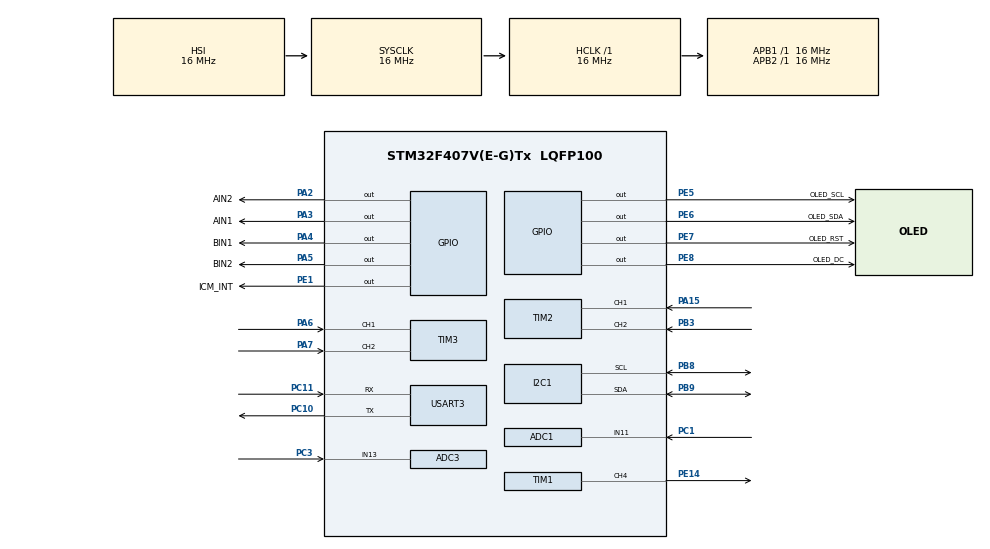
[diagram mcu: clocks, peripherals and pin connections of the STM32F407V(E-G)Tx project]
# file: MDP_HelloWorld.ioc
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ADC1.Channel-0\#ChannelRegularConversion=ADC_CHANNEL_11
ADC1.ContinuousConvMode=DISABLE
ADC1.NbrOfConversion=1
ADC1.NbrOfConversionFlag=1
ADC1.Rank-0\#ChannelRegularConversion=1
ADC1.SamplingTime-0\#ChannelRegularConversion=ADC_SAMPLETIME_3CYCLES
ADC1.master=1
ADC3.Channel-0\#ChannelRegularConversion=ADC_CHANNEL_13
ADC3.NbrOfConversionFlag=1
ADC3.Rank-0\#ChannelRegularConversion=1
ADC3.SamplingTime-0\#ChannelRegularConversion=ADC_SAMPLETIME_3CYCLES
FREERTOS.INCLUDE_xSemaphoreGetMutexHolder=1
FREERTOS.INCLUDE_xTaskAbortDelay=0
FREERTOS.Tasks01=defaultTask,24,256,StartDefaultTask,Default,NULL,Dynamic,NULL,NULL;encoder,8,256,Encoder,Default,NULL,Dynamic,NULL,NULL;display,8,256,Display,Default,NULL,Dynamic,NULL,NULL;gyroscope,24,256,Gyroscope,Default,NULL,Dynamic,NULL,NULL
Mcu.Family=STM32F4
Mcu.Name=STM32F407V(E-G)Tx
Mcu.Package=LQFP100
NVIC.PriorityGroup=NVIC_PRIORITYGROUP_4
NVIC.USART3_IRQn=true\:5\:0\:false\:false\:true\:true\:true\:true
PA15.Signal=S_TIM2_CH1_ETR
PA2.GPIO_Label=AIN2
PA2.GPIO_Speed=GPIO_SPEED_FREQ_HIGH
PA2.Signal=GPIO_Output
PA3.GPIO_Label=AIN1
PA3.GPIO_Speed=GPIO_SPEED_FREQ_HIGH
PA3.Signal=GPIO_Output
PA4.GPIO_Label=BIN1
PA4.GPIO_Speed=GPIO_SPEED_FREQ_HIGH
PA4.Signal=GPIO_Output
PA5.GPIO_Label=BIN2
PA5.GPIO_Speed=GPIO_SPEED_FREQ_HIGH
PA5.Signal=GPIO_Output
PA6.Signal=S_TIM3_CH1
PA7.Signal=S_TIM3_CH2
PB3.Signal=S_TIM2_CH2
PB8.Mode=I2C
PB8.Signal=I2C1_SCL
PB9.Mode=I2C
PB9.Signal=I2C1_SDA
PC1.Signal=ADCx_IN11
PC10.Mode=Asynchronous
PC10.Signal=USART3_TX
PC11.Mode=Asynchronous
PC11.Signal=USART3_RX
PC3.Signal=ADCx_IN13
PC6.GPIO_Label=PWMA
PC6.Signal=S_TIM8_CH1
PC7.GPIO_Label=PWMB
PC7.Signal=S_TIM8_CH2
PE1.GPIO_Label=ICM_INT
PE1.Signal=GPIO_Output
PE14.Signal=S_TIM1_CH4
PE5.GPIO_Label=OLED_SCL
PE5.Signal=GPIO_Output
PE6.GPIO_Label=OLED_SDA
PE6.Signal=GPIO_Output
PE7.GPIO_Label=OLED_RST
PE7.Signal=GPIO_Output
PE8.GPIO_Label=OLED_DC
PE8.Signal=GPIO_Output
ProjectManager.HeapSize=0x200
ProjectManager.StackSize=0x400
ProjectManager.TargetToolchain=STM32CubeIDE
RCC.AHBFreq_Value=16000000
RCC.APB1Freq_Value=16000000
RCC.APB2Freq_Value=16000000
RCC.CortexFreq_Value=16000000
RCC.HSE_VALUE=25000000
RCC.HSI_VALUE=16000000
RCC.LSE_VALUE=32768
RCC.SYSCLKFreq_VALUE=16000000
RCC.VCOOutputFreq_Value=192000000
SH.ADCx_IN11.0=ADC1_IN11,IN11
SH.ADCx_IN13.0=ADC3_IN13,IN13
SH.S_TIM1_CH4.0=TIM1_CH4,PWM Generation4 CH4
SH.S_TIM2_CH1_ETR.0=TIM2_CH1,Encoder_Interface
SH.S_TIM2_CH2.0=TIM2_CH2,Encoder_Interface
SH.S_TIM3_CH1.0=TIM3_CH1,Encoder_Interface
SH.S_TIM3_CH2.0=TIM3_CH2,Encoder_Interface
SH.S_TIM8_CH1.0=TIM8_CH1
SH.S_TIM8_CH2.0=TIM8_CH2
TIM1.AutoReloadPreload=TIM_AUTORELOAD_PRELOAD_ENABLE
TIM1.Channel-PWM\ Generation4\ CH4=TIM_CHANNEL_4
TIM1.Period=1000
TIM1.Prescaler=160
TIM2.EncoderMode=TIM_ENCODERMODE_TI12
TIM3.EncoderMode=TIM_ENCODERMODE_TI12
TIM8.Channel-PWM\ Generation1\ No\ Output=TIM_CHANNEL_1
TIM8.Channel-PWM\ Generation2\ No\ Output=TIM_CHANNEL_2
TIM8.Period=7199
USART3.VirtualMode=VM_ASYNC
VP_FREERTOS_VS_CMSIS_V2.Mode=CMSIS_V2
VP_TIM1_VS_ClockSourceINT.Mode=Internal
VP_TIM8_VS_ClockSourceINT.Mode=Internal
VP_TIM8_VS_no_output1.Mode=PWM Generation1 No Output
VP_TIM8_VS_no_output2.Mode=PWM Generation2 No Output
board=custom

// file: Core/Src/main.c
/* USER CODE BEGIN Header */
/**
 ******************************************************************************
 * @file           : main.c
 * @brief          : Main program body
 ******************************************************************************
 * @attention
 *
 * <h2><center>&copy; Copyright (c) 2022 STMicroelectronics.
 * All rights reserved.</center></h2>
 *
 * This software component is licensed by ST under BSD 3-Clause license,
 * the "License"; You may not use this file except in compliance with the
 * License. You may obtain a copy of the License at:
 *                        opensource.org/licenses/BSD-3-Clause
 *
 ******************************************************************************
 */
/* USER CODE END Header */
#include "main.h"
#include "cmsis_os.h"

/* USER CODE BEGIN Includes */
#include "semphr.h"

#include "oled.h"
#include "stdlib.h"
#include "ICM20948.h"

#include <stdbool.h>
#include <stdio.h>
#include <string.h>
#include <math.h>
/* USER CODE END Includes */

ADC_HandleTypeDef hadc1;
ADC_HandleTypeDef hadc3;

I2C_HandleTypeDef hi2c1;

TIM_HandleTypeDef htim1;
TIM_HandleTypeDef htim2;
TIM_HandleTypeDef htim3;
TIM_HandleTypeDef htim8;

UART_HandleTypeDef huart3;

/* Definitions for defaultTask */
osThreadId_t defaultTaskHandle;
const osThreadAttr_t defaultTask_attributes = {
  .name = "defaultTask",
  .stack_size = 256 * 4,
  .priority = (osPriority_t) osPriorityNormal,
};
/* Definitions for encoder */
osThreadId_t encoderHandle;
const osThreadAttr_t encoder_attributes = {
  .name = "encoder",
  .stack_size = 256 * 4,
  .priority = (osPriority_t) osPriorityLow,
};
/* Definitions for display */
osThreadId_t displayHandle;
const osThreadAttr_t display_attributes = {
  .name = "display",
  .stack_size = 256 * 4,
  .priority = (osPriority_t) osPriorityLow,
};
/* Definitions for gyroscope */
osThreadId_t gyroscopeHandle;
const osThreadAttr_t gyroscope_attributes = {
  .name = "gyroscope",
  .stack_size = 256 * 4,
  .priority = (osPriority_t) osPriorityNormal,
};

void SystemClock_Config(void);
static void MX_GPIO_Init(void);
static void MX_TIM8_Init(void);
static void MX_TIM2_Init(void);
static void MX_TIM1_Init(void);
static void MX_USART3_UART_Init(void);
static void MX_I2C1_Init(void);
static void MX_ADC1_Init(void);
static void MX_TIM3_Init(void);
static void MX_ADC3_Init(void);
void StartDefaultTask(void *argument);
void Encoder(void *argument);
void Display(void *argument);
void Gyroscope(void *argument);

/* USER CODE BEGIN PFP */
int IR(ADC_HandleTypeDef);
char Straight_Move(bool, int);
int Long_Forward(uint16_t, int, bool);
char Turning(bool, uint16_t, float);
char Tight_Turn(bool, bool);
char Fast_Run(uint8_t);
char Fast_Triangle();
float Turning_IR(bool, uint16_t, float);

/* USER CODE END PFP */

/* USER CODE BEGIN 0 */
uint8_t aRxBuffer[20];
static float YAW = 0.0;

axises my_gyro;
axises my_accel;
axises my_mag;

/* USER CODE END 0 */

int main(void)
{

  /* MCU Configuration--------------------------------------------------------*/

  /* Reset of all peripherals, Initializes the Flash interface and the Systick. */
  HAL_Init();

  /* Configure the system clock */
  SystemClock_Config();

  /* Initialize all configured peripherals */
  MX_GPIO_Init();
  MX_TIM8_Init();
  MX_TIM2_Init();
  MX_TIM1_Init();
  MX_USART3_UART_Init();
  MX_I2C1_Init();
  MX_ADC1_Init();
  MX_TIM3_Init();
  MX_ADC3_Init();
  /* USER CODE BEGIN 2 */
	OLED_Init();
	HAL_UART_Receive_IT(&huart3, (uint8_t*) aRxBuffer, 10);
  /* USER CODE END 2 */

  /* Init scheduler */
  osKernelInitialize();

  /* USER CODE BEGIN RTOS_MUTEX */
	/* add Mutexes, ... */
  /* USER CODE END RTOS_MUTEX */

  /* Create the thread(s) */
  /* creation of defaultTask */
  defaultTaskHandle = osThreadNew(StartDefaultTask, NULL, &defaultTask_attributes);

  /* creation of encoder */
  encoderHandle = osThreadNew(Encoder, NULL, &encoder_attributes);

  /* creation of display */
  displayHandle = osThreadNew(Display, NULL, &display_attributes);

  /* creation of gyroscope */
  gyroscopeHandle = osThreadNew(Gyroscope, NULL, &gyroscope_attributes);

  /* Start scheduler */
  osKernelStart();

  /* We should never get here as control is now taken by the scheduler */
  /* Infinite loop */
	while (1) {

	}
}

void SystemClock_Config(void)
{
  RCC_OscInitTypeDef RCC_OscInitStruct = {0};
  RCC_ClkInitTypeDef RCC_ClkInitStruct = {0};

  /** Configure the main internal regulator output voltage
  */
  __HAL_RCC_PWR_CLK_ENABLE();
  __HAL_PWR_VOLTAGESCALING_CONFIG(PWR_REGULATOR_VOLTAGE_SCALE1);
  /** Initializes the RCC Oscillators according to the specified parameters
  * in the RCC_OscInitTypeDef structure.
  */
  RCC_OscInitStruct.OscillatorType = RCC_OSCILLATORTYPE_HSI;
  RCC_OscInitStruct.HSIState = RCC_HSI_ON;
  RCC_OscInitStruct.HSICalibrationValue = RCC_HSICALIBRATION_DEFAULT;
  RCC_OscInitStruct.PLL.PLLState = RCC_PLL_NONE;
  if (HAL_RCC_OscConfig(&RCC_OscInitStruct) != HAL_OK)
  {
    Error_Handler();
  }
  /** Initializes the CPU, AHB and APB buses clocks
  */
  RCC_ClkInitStruct.ClockType = RCC_CLOCKTYPE_HCLK|RCC_CLOCKTYPE_SYSCLK
                              |RCC_CLOCKTYPE_PCLK1|RCC_CLOCKTYPE_PCLK2;
  RCC_ClkInitStruct.SYSCLKSource = RCC_SYSCLKSOURCE_HSI;
  RCC_ClkInitStruct.AHBCLKDivider = RCC_SYSCLK_DIV1;
  RCC_ClkInitStruct.APB1CLKDivider = RCC_HCLK_DIV1;
  RCC_ClkInitStruct.APB2CLKDivider = RCC_HCLK_DIV1;

  if (HAL_RCC_ClockConfig(&RCC_ClkInitStruct, FLASH_LATENCY_0) != HAL_OK)
  {
    Error_Handler();
  }
}

static void MX_ADC1_Init(void)
{

  ADC_ChannelConfTypeDef sConfig = {0};

  /** Configure the global features of the ADC (Clock, Resolution, Data Alignment and number of conversion)
  */
  hadc1.Instance = ADC1;
  hadc1.Init.ClockPrescaler = ADC_CLOCK_SYNC_PCLK_DIV2;
  hadc1.Init.Resolution = ADC_RESOLUTION_12B;
  hadc1.Init.ScanConvMode = DISABLE;
  hadc1.Init.ContinuousConvMode = DISABLE;
  hadc1.Init.DiscontinuousConvMode = DISABLE;
  hadc1.Init.ExternalTrigConvEdge = ADC_EXTERNALTRIGCONVEDGE_NONE;
  hadc1.Init.ExternalTrigConv = ADC_SOFTWARE_START;
  hadc1.Init.DataAlign = ADC_DATAALIGN_RIGHT;
  hadc1.Init.NbrOfConversion = 1;
  hadc1.Init.DMAContinuousRequests = DISABLE;
  hadc1.Init.EOCSelection = ADC_EOC_SINGLE_CONV;
  if (HAL_ADC_Init(&hadc1) != HAL_OK)
  {
    Error_Handler();
  }
  /** Configure for the selected ADC regular channel its corresponding rank in the sequencer and its sample time.
  */
  sConfig.Channel = ADC_CHANNEL_11;
  sConfig.Rank = 1;
  sConfig.SamplingTime = ADC_SAMPLETIME_3CYCLES;
  if (HAL_ADC_ConfigChannel(&hadc1, &sConfig) != HAL_OK)
  {
    Error_Handler();
  }

}

static void MX_ADC3_Init(void)
{

  ADC_ChannelConfTypeDef sConfig = {0};

  /** Configure the global features of the ADC (Clock, Resolution, Data Alignment and number of conversion)
  */
  hadc3.Instance = ADC3;
  hadc3.Init.ClockPrescaler = ADC_CLOCK_SYNC_PCLK_DIV2;
  hadc3.Init.Resolution = ADC_RESOLUTION_12B;
  hadc3.Init.ScanConvMode = DISABLE;
  hadc3.Init.ContinuousConvMode = DISABLE;
  hadc3.Init.DiscontinuousConvMode = DISABLE;
  hadc3.Init.ExternalTrigConvEdge = ADC_EXTERNALTRIGCONVEDGE_NONE;
  hadc3.Init.ExternalTrigConv = ADC_SOFTWARE_START;
  hadc3.Init.DataAlign = ADC_DATAALIGN_RIGHT;
  hadc3.Init.NbrOfConversion = 1;
  hadc3.Init.DMAContinuousRequests = DISABLE;
  hadc3.Init.EOCSelection = ADC_EOC_SINGLE_CONV;
  if (HAL_ADC_Init(&hadc3) != HAL_OK)
  {
    Error_Handler();
  }
  /** Configure for the selected ADC regular channel its corresponding rank in the sequencer and its sample time.
  */
  sConfig.Channel = ADC_CHANNEL_13;
  sConfig.Rank = 1;
  sConfig.SamplingTime = ADC_SAMPLETIME_3CYCLES;
  if (HAL_ADC_ConfigChannel(&hadc3, &sConfig) != HAL_OK)
  {
    Error_Handler();
  }

}

static void MX_I2C1_Init(void)
{

  hi2c1.Instance = I2C1;
  hi2c1.Init.ClockSpeed = 100000;
  hi2c1.Init.DutyCycle = I2C_DUTYCYCLE_2;
  hi2c1.Init.OwnAddress1 = 0;
  hi2c1.Init.AddressingMode = I2C_ADDRESSINGMODE_7BIT;
  hi2c1.Init.DualAddressMode = I2C_DUALADDRESS_DISABLE;
  hi2c1.Init.OwnAddress2 = 0;
  hi2c1.Init.GeneralCallMode = I2C_GENERALCALL_DISABLE;
  hi2c1.Init.NoStretchMode = I2C_NOSTRETCH_DISABLE;
  if (HAL_I2C_Init(&hi2c1) != HAL_OK)
  {
    Error_Handler();
  }

}

static void MX_TIM1_Init(void)
{

  TIM_ClockConfigTypeDef sClockSourceConfig = {0};
  TIM_MasterConfigTypeDef sMasterConfig = {0};
  TIM_OC_InitTypeDef sConfigOC = {0};
  TIM_BreakDeadTimeConfigTypeDef sBreakDeadTimeConfig = {0};

  htim1.Instance = TIM1;
  htim1.Init.Prescaler = 160;
  htim1.Init.CounterMode = TIM_COUNTERMODE_UP;
  htim1.Init.Period = 1000;
  htim1.Init.ClockDivision = TIM_CLOCKDIVISION_DIV1;
  htim1.Init.RepetitionCounter = 0;
  htim1.Init.AutoReloadPreload = TIM_AUTORELOAD_PRELOAD_ENABLE;
  if (HAL_TIM_Base_Init(&htim1) != HAL_OK)
  {
    Error_Handler();
  }
  sClockSourceConfig.ClockSource = TIM_CLOCKSOURCE_INTERNAL;
  if (HAL_TIM_ConfigClockSource(&htim1, &sClockSourceConfig) != HAL_OK)
  {
    Error_Handler();
  }
  if (HAL_TIM_PWM_Init(&htim1) != HAL_OK)
  {
    Error_Handler();
  }
  sMasterConfig.MasterOutputTrigger = TIM_TRGO_RESET;
  sMasterConfig.MasterSlaveMode = TIM_MASTERSLAVEMODE_DISABLE;
  if (HAL_TIMEx_MasterConfigSynchronization(&htim1, &sMasterConfig) != HAL_OK)
  {
    Error_Handler();
  }
  sConfigOC.OCMode = TIM_OCMODE_PWM1;
  sConfigOC.Pulse = 0;
  sConfigOC.OCPolarity = TIM_OCPOLARITY_HIGH;
  sConfigOC.OCFastMode = TIM_OCFAST_DISABLE;
  sConfigOC.OCIdleState = TIM_OCIDLESTATE_RESET;
  sConfigOC.OCNIdleState = TIM_OCNIDLESTATE_RESET;
  if (HAL_TIM_PWM_ConfigChannel(&htim1, &sConfigOC, TIM_CHANNEL_4) != HAL_OK)
  {
    Error_Handler();
  }
  sBreakDeadTimeConfig.OffStateRunMode = TIM_OSSR_DISABLE;
  sBreakDeadTimeConfig.OffStateIDLEMode = TIM_OSSI_DISABLE;
  sBreakDeadTimeConfig.LockLevel = TIM_LOCKLEVEL_OFF;
  sBreakDeadTimeConfig.DeadTime = 0;
  sBreakDeadTimeConfig.BreakState = TIM_BREAK_DISABLE;
  sBreakDeadTimeConfig.BreakPolarity = TIM_BREAKPOLARITY_HIGH;
  sBreakDeadTimeConfig.AutomaticOutput = TIM_AUTOMATICOUTPUT_DISABLE;
  if (HAL_TIMEx_ConfigBreakDeadTime(&htim1, &sBreakDeadTimeConfig) != HAL_OK)
  {
    Error_Handler();
  }
  HAL_TIM_MspPostInit(&htim1);

}

static void MX_TIM2_Init(void)
{

  TIM_Encoder_InitTypeDef sConfig = {0};
  TIM_MasterConfigTypeDef sMasterConfig = {0};

  htim2.Instance = TIM2;
  htim2.Init.Prescaler = 0;
  htim2.Init.CounterMode = TIM_COUNTERMODE_UP;
  htim2.Init.Period = 4294967295;
  htim2.Init.ClockDivision = TIM_CLOCKDIVISION_DIV1;
  htim2.Init.AutoReloadPreload = TIM_AUTORELOAD_PRELOAD_DISABLE;
  sConfig.EncoderMode = TIM_ENCODERMODE_TI12;
  sConfig.IC1Polarity = TIM_ICPOLARITY_RISING;
  sConfig.IC1Selection = TIM_ICSELECTION_DIRECTTI;
  sConfig.IC1Prescaler = TIM_ICPSC_DIV1;
  sConfig.IC1Filter = 0;
  sConfig.IC2Polarity = TIM_ICPOLARITY_RISING;
  sConfig.IC2Selection = TIM_ICSELECTION_DIRECTTI;
  sConfig.IC2Prescaler = TIM_ICPSC_DIV1;
  sConfig.IC2Filter = 0;
  if (HAL_TIM_Encoder_Init(&htim2, &sConfig) != HAL_OK)
  {
    Error_Handler();
  }
  sMasterConfig.MasterOutputTrigger = TIM_TRGO_RESET;
  sMasterConfig.MasterSlaveMode = TIM_MASTERSLAVEMODE_DISABLE;
  if (HAL_TIMEx_MasterConfigSynchronization(&htim2, &sMasterConfig) != HAL_OK)
  {
    Error_Handler();
  }

}

static void MX_TIM3_Init(void)
{

  TIM_Encoder_InitTypeDef sConfig = {0};
  TIM_MasterConfigTypeDef sMasterConfig = {0};

  htim3.Instance = TIM3;
  htim3.Init.Prescaler = 0;
  htim3.Init.CounterMode = TIM_COUNTERMODE_UP;
  htim3.Init.Period = 65535;
  htim3.Init.ClockDivision = TIM_CLOCKDIVISION_DIV1;
  htim3.Init.AutoReloadPreload = TIM_AUTORELOAD_PRELOAD_DISABLE;
  sConfig.EncoderMode = TIM_ENCODERMODE_TI12;
  sConfig.IC1Polarity = TIM_ICPOLARITY_RISING;
  sConfig.IC1Selection = TIM_ICSELECTION_DIRECTTI;
  sConfig.IC1Prescaler = TIM_ICPSC_DIV1;
  sConfig.IC1Filter = 0;
  sConfig.IC2Polarity = TIM_ICPOLARITY_RISING;
  sConfig.IC2Selection = TIM_ICSELECTION_DIRECTTI;
  sConfig.IC2Prescaler = TIM_ICPSC_DIV1;
  sConfig.IC2Filter = 0;
  if (HAL_TIM_Encoder_Init(&htim3, &sConfig) != HAL_OK)
  {
    Error_Handler();
  }
  sMasterConfig.MasterOutputTrigger = TIM_TRGO_RESET;
  sMasterConfig.MasterSlaveMode = TIM_MASTERSLAVEMODE_DISABLE;
  if (HAL_TIMEx_MasterConfigSynchronization(&htim3, &sMasterConfig) != HAL_OK)
  {
    Error_Handler();
  }

}

static void MX_TIM8_Init(void)
{

  TIM_ClockConfigTypeDef sClockSourceConfig = {0};
  TIM_MasterConfigTypeDef sMasterConfig = {0};
  TIM_OC_InitTypeDef sConfigOC = {0};
  TIM_BreakDeadTimeConfigTypeDef sBreakDeadTimeConfig = {0};

  htim8.Instance = TIM8;
  htim8.Init.Prescaler = 0;
  htim8.Init.CounterMode = TIM_COUNTERMODE_UP;
  htim8.Init.Period = 7199;
  htim8.Init.ClockDivision = TIM_CLOCKDIVISION_DIV1;
  htim8.Init.RepetitionCounter = 0;
  htim8.Init.AutoReloadPreload = TIM_AUTORELOAD_PRELOAD_DISABLE;
  if (HAL_TIM_Base_Init(&htim8) != HAL_OK)
  {
    Error_Handler();
  }
  sClockSourceConfig.ClockSource = TIM_CLOCKSOURCE_INTERNAL;
  if (HAL_TIM_ConfigClockSource(&htim8, &sClockSourceConfig) != HAL_OK)
  {
    Error_Handler();
  }
  if (HAL_TIM_PWM_Init(&htim8) != HAL_OK)
  {
    Error_Handler();
  }
  sMasterConfig.MasterOutputTrigger = TIM_TRGO_RESET;
  sMasterConfig.MasterSlaveMode = TIM_MASTERSLAVEMODE_DISABLE;
  if (HAL_TIMEx_MasterConfigSynchronization(&htim8, &sMasterConfig) != HAL_OK)
  {
    Error_Handler();
  }
  sConfigOC.OCMode = TIM_OCMODE_PWM1;
  sConfigOC.Pulse = 0;
  sConfigOC.OCPolarity = TIM_OCPOLARITY_HIGH;
  sConfigOC.OCNPolarity = TIM_OCNPOLARITY_HIGH;
  sConfigOC.OCFastMode = TIM_OCFAST_DISABLE;
  sConfigOC.OCIdleState = TIM_OCIDLESTATE_RESET;
  sConfigOC.OCNIdleState = TIM_OCNIDLESTATE_RESET;
  if (HAL_TIM_PWM_ConfigChannel(&htim8, &sConfigOC, TIM_CHANNEL_1) != HAL_OK)
  {
    Error_Handler();
  }
  if (HAL_TIM_PWM_ConfigChannel(&htim8, &sConfigOC, TIM_CHANNEL_2) != HAL_OK)
  {
    Error_Handler();
  }
  sBreakDeadTimeConfig.OffStateRunMode = TIM_OSSR_DISABLE;
  sBreakDeadTimeConfig.OffStateIDLEMode = TIM_OSSI_DISABLE;
  sBreakDeadTimeConfig.LockLevel = TIM_LOCKLEVEL_OFF;
  sBreakDeadTimeConfig.DeadTime = 0;
  sBreakDeadTimeConfig.BreakState = TIM_BREAK_DISABLE;
  sBreakDeadTimeConfig.BreakPolarity = TIM_BREAKPOLARITY_HIGH;
  sBreakDeadTimeConfig.AutomaticOutput = TIM_AUTOMATICOUTPUT_DISABLE;
  if (HAL_TIMEx_ConfigBreakDeadTime(&htim8, &sBreakDeadTimeConfig) != HAL_OK)
  {
    Error_Handler();
  }

}

static void MX_USART3_UART_Init(void)
{

  huart3.Instance = USART3;
  huart3.Init.BaudRate = 115200;
  huart3.Init.WordLength = UART_WORDLENGTH_8B;
  huart3.Init.StopBits = UART_STOPBITS_1;
  huart3.Init.Parity = UART_PARITY_NONE;
  huart3.Init.Mode = UART_MODE_TX_RX;
  huart3.Init.HwFlowCtl = UART_HWCONTROL_NONE;
  huart3.Init.OverSampling = UART_OVERSAMPLING_16;
  if (HAL_UART_Init(&huart3) != HAL_OK)
  {
    Error_Handler();
  }

}

static void MX_GPIO_Init(void)
{
  GPIO_InitTypeDef GPIO_InitStruct = {0};

  /* GPIO Ports Clock Enable */
  __HAL_RCC_GPIOE_CLK_ENABLE();
  __HAL_RCC_GPIOC_CLK_ENABLE();
  __HAL_RCC_GPIOA_CLK_ENABLE();
  __HAL_RCC_GPIOB_CLK_ENABLE();

  /*Configure GPIO pin Output Level */
  HAL_GPIO_WritePin(GPIOE, OLED_SCL_Pin|OLED_SDA_Pin|OLED_RST_Pin|OLED_DC_Pin
                          |ICM_INT_Pin, GPIO_PIN_RESET);

  /*Configure GPIO pin Output Level */
  HAL_GPIO_WritePin(GPIOA, AIN2_Pin|AIN1_Pin|BIN1_Pin|BIN2_Pin, GPIO_PIN_RESET);

  /*Configure GPIO pins : OLED_SCL_Pin OLED_SDA_Pin OLED_RST_Pin OLED_DC_Pin
                           ICM_INT_Pin */
  GPIO_InitStruct.Pin = OLED_SCL_Pin|OLED_SDA_Pin|OLED_RST_Pin|OLED_DC_Pin
                          |ICM_INT_Pin;
  GPIO_InitStruct.Mode = GPIO_MODE_OUTPUT_PP;
  GPIO_InitStruct.Pull = GPIO_NOPULL;
  GPIO_InitStruct.Speed = GPIO_SPEED_FREQ_LOW;
  HAL_GPIO_Init(GPIOE, &GPIO_InitStruct);

  /*Configure GPIO pins : AIN2_Pin AIN1_Pin BIN1_Pin BIN2_Pin */
  GPIO_InitStruct.Pin = AIN2_Pin|AIN1_Pin|BIN1_Pin|BIN2_Pin;
  GPIO_InitStruct.Mode = GPIO_MODE_OUTPUT_PP;
  GPIO_InitStruct.Pull = GPIO_NOPULL;
  GPIO_InitStruct.Speed = GPIO_SPEED_FREQ_HIGH;
  HAL_GPIO_Init(GPIOA, &GPIO_InitStruct);

}

/* USER CODE BEGIN 4 */
void HAL_UART_RxCpltCallback(UART_HandleTypeDef *huart) {
	/* Prevent unused argument(s) compilation warning*/
	UNUSED(huart);

//	HAL_UART_Transmit(&huart3, (uint8_t*) aRxBuffer, 10, 0xFFFF);
}
/* USER CODE END 4 */

/* USER CODE BEGIN Header_StartDefaultTask */

/*
 * IR sensor function
 */
int IR(ADC_HandleTypeDef adcVal){
	uint16_t raw = 0;
//	uint8_t buf[10];
	int voltage;
	int distance;

	///////IR Sensor Code////////////
//	Set GPIO pin to high
//	HAL_GPIO_WritePin(GPIOA, GPIO_PIN_10, GPIO_PIN_SET);

	for (int i = 0; i < 20; i++) {
//		Get ADC value
		HAL_ADC_Start(&adcVal);
		HAL_ADC_PollForConversion(&adcVal, HAL_MAX_DELAY);

//		Get voltage reading
		raw += HAL_ADC_GetValue(&adcVal);

//		Set GPIO pin to low
//		HAL_GPIO_WritePin(GPIOA, GPIO_PIN_10, GPIO_PIN_RESET);
	}

	voltage = (int)raw/20;

	if (voltage <= 2960 && voltage > 2500)			//10
		distance = 10;
	else if (voltage <= 2500 && voltage > 1845)		//15
		distance = 15;
	else if (voltage <= 1845 && voltage > 1460)		//20
		distance = 20;
	else if (voltage <= 1460 && voltage > 1275)		//25
		distance = 25;
	else if (voltage <= 1275 && voltage > 1135)		//30
		distance = 30;
	else if (voltage <= 1135 && voltage > 1020)		//35
		distance = 35;
	else if (voltage <= 1020 && voltage > 925)		//40
		distance = 40;
	else if (voltage <= 925 && voltage > 815)		//45
		distance = 45;
	else if (voltage <= 815 && voltage > 710)		//50
		distance = 50;

	// Nothing within 50cm
	else if (voltage <= 710)
		distance = 0;

	// Too close
	else
		distance = 5;

//	distance = 35 - +(((int)voltage)/100);

	return distance;
}

/*
 * Self correction straight moving, slow fixed speed. For week 8
 */
char Straight_Move(bool forward, int steps) {
	uint16_t rightPwmVal = 1400;
	uint16_t leftPwmVal = 1400;

	// right
	HAL_TIM_PWM_Start(&htim8, TIM_CHANNEL_1);

	// left
	HAL_TIM_PWM_Start(&htim8, TIM_CHANNEL_2);

	HAL_TIM_PWM_Start(&htim1, TIM_CHANNEL_4);

	HAL_TIM_Encoder_Start(&htim3, TIM_CHANNEL_ALL);

	int16_t cnt1, cnt2;

	int target, reorient;
	int center = 143;

	float diff, yaw;

	yaw = YAW;
	htim1.Instance->CCR4 = center;	//center
	osDelay(500);

	cnt1 = __HAL_TIM_GET_COUNTER(&htim3);

	for (;;) {
		// Lounge
		htim1.Instance->CCR4 = center;	//center
		if (forward == true) {
			// corridor
			HAL_GPIO_WritePin(GPIOA, AIN2_Pin, GPIO_PIN_SET);
			HAL_GPIO_WritePin(GPIOA, AIN1_Pin, GPIO_PIN_RESET);
			HAL_GPIO_WritePin(GPIOA, BIN2_Pin, GPIO_PIN_SET);
			HAL_GPIO_WritePin(GPIOA, BIN1_Pin, GPIO_PIN_RESET);

			diff = abs(abs(YAW) - abs(yaw));
			// if tilt to right
			if (YAW < yaw)
				diff = 0 - diff;
			reorient = 4;
			if (diff >= 0.5)
			{
				// If tilt to right
				// turn right
				htim1.Instance->CCR4 = center + reorient;
				osDelay(10);
			}
			else if (diff <= -0.5) {
				// If tilt to left
				// turn right
				htim1.Instance->CCR4 = center + reorient;
				osDelay(10);

			} else {
				htim1.Instance->CCR4 = center;
				__HAL_TIM_SetCompare(&htim8,TIM_CHANNEL_1,rightPwmVal); // Modify the comparison value for the duty cycle
				__HAL_TIM_SetCompare(&htim8,TIM_CHANNEL_2,leftPwmVal); // Modify the comparison value for the duty cycle
			}
		} else {
//			// corridor
			HAL_GPIO_WritePin(GPIOA, AIN1_Pin, GPIO_PIN_SET);
			HAL_GPIO_WritePin(GPIOA, AIN2_Pin, GPIO_PIN_RESET);
			HAL_GPIO_WritePin(GPIOA, BIN1_Pin, GPIO_PIN_SET);
			HAL_GPIO_WritePin(GPIOA, BIN2_Pin, GPIO_PIN_RESET);
			diff = abs(abs(YAW) - abs(yaw));
			// if tilt to right
			if (YAW > yaw)
				diff = 0 - diff;
			reorient = 4;
			if (diff <= -0.5)
			{
				// If tilt to right
				// turn left
				htim1.Instance->CCR4 = center + reorient;
				osDelay(10);
			}
			else if (diff >= 0.5) {
				// If tilt to left
				// turn right
				htim1.Instance->CCR4 = center + reorient;
				osDelay(10);

			} else {
				htim1.Instance->CCR4 = center;
				__HAL_TIM_SetCompare(&htim8,TIM_CHANNEL_1,leftPwmVal); // Modify the comparison value for the duty cycle
				__HAL_TIM_SetCompare(&htim8,TIM_CHANNEL_2,rightPwmVal); // Modify the comparison value for the duty cycle
			}
		}

		if (forward == true) {
		__HAL_TIM_SetCompare(&htim8,TIM_CHANNEL_1,rightPwmVal); // Modify the comparison value for the duty cycle
		__HAL_TIM_SetCompare(&htim8,TIM_CHANNEL_2,leftPwmVal); // Modify the comparison value for the duty cycle
		} else {
			__HAL_TIM_SetCompare(&htim8,TIM_CHANNEL_1,leftPwmVal); // Modify the comparison value for the duty cycle
			__HAL_TIM_SetCompare(&htim8,TIM_CHANNEL_2,rightPwmVal); // Modify the comparison value for the duty cycle
		}

//		osDelay(10);

		if (forward == true)
			target = 663*steps;
		else
			target = 675*steps;
		cnt2 = __HAL_TIM_GET_COUNTER(&htim3);

		if (__HAL_TIM_IS_TIM_COUNTING_DOWN(&htim3)) {
			if ((cnt1-cnt2) >= target)
				break;

//			// if less than half the distance
//			if ((cnt1-cnt2) < target/2 && leftPwmVal < 4000) {
//				rightPwmVal += 60;
//				leftPwmVal += 60;
//			}
//			else if ((cnt1-cnt2) >= target/2 && leftPwmVal > 800) {
//				rightPwmVal -= 300;
//				leftPwmVal -= 300;
//			}
		}
		else {
			if ((cnt2-cnt1) >= target)
				break;

//			// if less than half the distance
//			if ((cnt2-cnt1) < target/2 && rightPwmVal < 4000) {
//				rightPwmVal += 60;
//				leftPwmVal += 60;
//			}
//			else if ((cnt2-cnt1) >= target/2 && rightPwmVal > 800) {
//				rightPwmVal -= 300;
//				leftPwmVal -= 300;
//			}
		}
	}

	__HAL_TIM_SetCompare(&htim8,TIM_CHANNEL_1,0); // Modify the comparison value for the duty cycle
	__HAL_TIM_SetCompare(&htim8,TIM_CHANNEL_2,0); // Modify the comparison value for the duty cycle

	// Reset Timer Val
	__HAL_TIM_CLEAR_IT(&htim3, TIM_IT_UPDATE);
	TIM3->CNT = 0;
	return 'R';
}

int Parking(uint16_t pwmVal, int target, bool frontIR) {
	uint8_t char1, char2;
	int16_t cnt1, cnt2;
	uint8_t ch = 'R';
	int reorient = 4;
	int center = 143;

	float yaw, diff;

	// Wait for RPi to take image
	__HAL_TIM_SetCompare(&htim8,TIM_CHANNEL_1,0); // Modify the comparison value for the duty cycle
	__HAL_TIM_SetCompare(&htim8,TIM_CHANNEL_2,0); // Modify the comparison value for the duty cycle
	HAL_UART_Transmit(&huart3, (uint8_t*)&ch, 1, 0xFFFF);
	HAL_UART_Receive(&huart3, (uint8_t*)aRxBuffer, 2, 0xFFFF);
	char1 = aRxBuffer[0];
	char2 = aRxBuffer[1];
	memmove(aRxBuffer, aRxBuffer+2, sizeof(aRxBuffer)-2);

	yaw = YAW;
	cnt1 = __HAL_TIM_GET_COUNTER(&htim3);

	if (char2 == 'R') {
		reorient = (char1 - '0') * 5;
		htim1.Instance->CCR4 = center + reorient;
	}
	else if (char2 == 'L') {
		reorient = 0 - ((char1 - '0') * 5);
		htim1.Instance->CCR4 = center + reorient;
	}
	HAL_GPIO_WritePin(GPIOA, AIN2_Pin, GPIO_PIN_SET);
	HAL_GPIO_WritePin(GPIOA, AIN1_Pin, GPIO_PIN_RESET);
	HAL_GPIO_WritePin(GPIOA, BIN2_Pin, GPIO_PIN_SET);
	HAL_GPIO_WritePin(GPIOA, BIN1_Pin, GPIO_PIN_RESET);

	__HAL_TIM_SetCompare(&htim8,TIM_CHANNEL_1,pwmVal); // Modify the comparison value for the duty cycle
	__HAL_TIM_SetCompare(&htim8,TIM_CHANNEL_2,pwmVal); // Modify the comparison value for the duty cycle
	osDelay(500);

	for (;;) {
		HAL_GPIO_WritePin(GPIOA, AIN2_Pin, GPIO_PIN_SET);
		HAL_GPIO_WritePin(GPIOA, AIN1_Pin, GPIO_PIN_RESET);
		HAL_GPIO_WritePin(GPIOA, BIN2_Pin, GPIO_PIN_SET);
		HAL_GPIO_WritePin(GPIOA, BIN1_Pin, GPIO_PIN_RESET);

		diff = abs(abs(YAW) - abs(yaw));
		// if tilt to right
		if (YAW < yaw)
			diff = 0 - diff;
		if (diff >= 0.5)
		{
			// If tilt to right
			// turn right
			htim1.Instance->CCR4 = center + reorient;
			osDelay(10);
		}
		else if (diff <= -0.5) {
			// If tilt to left
			// turn right
			htim1.Instance->CCR4 = center + reorient;
			osDelay(10);
		}

		__HAL_TIM_SetCompare(&htim8,TIM_CHANNEL_1,pwmVal); // Modify the comparison value for the duty cycle
		__HAL_TIM_SetCompare(&htim8,TIM_CHANNEL_2,pwmVal); // Modify the comparison value for the duty cycle

		cnt2 = __HAL_TIM_GET_COUNTER(&htim3);

		if (__HAL_TIM_IS_TIM_COUNTING_DOWN(&htim3)) {
			if ((cnt1-cnt2) >= target)
				break;
		}
		else {
			if ((cnt2-cnt1) >= target)
				break;
		}
		return 0;
	}
}

/*
 * Moving straight while measuring the encoder value
 */
int Long_Forward(uint16_t pwmVal, int target, bool frontIR){
	int16_t cnt1, cnt2;

	int reorient = 4;
	int center = 143;

	float yaw, diff;
	yaw = YAW;

	HAL_TIM_PWM_Start(&htim8, TIM_CHANNEL_1);

	HAL_TIM_PWM_Start(&htim8, TIM_CHANNEL_2);

	HAL_TIM_PWM_Start(&htim1, TIM_CHANNEL_4);

	HAL_TIM_Encoder_Start(&htim2, TIM_CHANNEL_ALL);

	htim1.Instance->CCR4 = center;	//center

	cnt1 = __HAL_TIM_GET_COUNTER(&htim3);

	if (target != 0) {
		for (;;) {

			HAL_GPIO_WritePin(GPIOA, AIN2_Pin, GPIO_PIN_SET);
			HAL_GPIO_WritePin(GPIOA, AIN1_Pin, GPIO_PIN_RESET);
			HAL_GPIO_WritePin(GPIOA, BIN2_Pin, GPIO_PIN_SET);
			HAL_GPIO_WritePin(GPIOA, BIN1_Pin, GPIO_PIN_RESET);

			diff = abs(abs(YAW) - abs(yaw));
			// if tilt to right
			if (YAW < yaw)
				diff = 0 - diff;
			if (diff >= 0.5)
			{
				// If tilt to right
				// turn right
				htim1.Instance->CCR4 = center + reorient;
				osDelay(10);
			}
			else if (diff <= -0.5) {
				// If tilt to left
				// turn right
				htim1.Instance->CCR4 = center + reorient;
				osDelay(10);
			}

			__HAL_TIM_SetCompare(&htim8,TIM_CHANNEL_1,pwmVal); // Modify the comparison value for the duty cycle
			__HAL_TIM_SetCompare(&htim8,TIM_CHANNEL_2,pwmVal); // Modify the comparison value for the duty cycle

			cnt2 = __HAL_TIM_GET_COUNTER(&htim3);

			if (__HAL_TIM_IS_TIM_COUNTING_DOWN(&htim3)) {
				if ((cnt1-cnt2) >= target)
					break;
			}
			else {
				if ((cnt2-cnt1) >= target)
					break;
			}
		}
		return 0;
	} else {
		if (frontIR == false) {
			if(IR(hadc1) == 0)
				osDelay(500);
			while(IR(hadc1) != 0){
				HAL_GPIO_WritePin(GPIOA, AIN2_Pin, GPIO_PIN_SET);
				HAL_GPIO_WritePin(GPIOA, AIN1_Pin, GPIO_PIN_RESET);
				HAL_GPIO_WritePin(GPIOA, BIN2_Pin, GPIO_PIN_SET);
				HAL_GPIO_WritePin(GPIOA, BIN1_Pin, GPIO_PIN_RESET);

				diff = abs(abs(YAW) - abs(yaw));
				// if tilt to right
				if (YAW < yaw)
					diff = 0 - diff;
				if (diff >= 0.5)
				{
					// If tilt to right
					// turn right
					htim1.Instance->CCR4 = center + reorient;
					osDelay(10);
				}
				else if (diff <= -0.5) {
					// If tilt to left
					// turn right
					htim1.Instance->CCR4 = center + reorient;
					osDelay(10);
				}

				__HAL_TIM_SetCompare(&htim8,TIM_CHANNEL_1,pwmVal); // Modify the comparison value for the duty cycle
				__HAL_TIM_SetCompare(&htim8,TIM_CHANNEL_2,pwmVal); // Modify the comparison value for the duty cycle
			}
		} else {
			while(IR(hadc3) != 40) {
				HAL_GPIO_WritePin(GPIOA, AIN2_Pin, GPIO_PIN_SET);
				HAL_GPIO_WritePin(GPIOA, AIN1_Pin, GPIO_PIN_RESET);
				HAL_GPIO_WritePin(GPIOA, BIN2_Pin, GPIO_PIN_SET);
				HAL_GPIO_WritePin(GPIOA, BIN1_Pin, GPIO_PIN_RESET);

				diff = abs(abs(YAW) - abs(yaw));
				// if tilt to right
				if (YAW < yaw)
					diff = 0 - diff;
				if (diff >= 0.5)
				{
					// If tilt to right
					// turn right
					htim1.Instance->CCR4 = center + reorient;
					osDelay(10);
				}
				else if (diff <= -0.5) {
					// If tilt to left
					// turn right
					htim1.Instance->CCR4 = center + reorient;
					osDelay(10);
				}

				__HAL_TIM_SetCompare(&htim8,TIM_CHANNEL_1,pwmVal); // Modify the comparison value for the duty cycle
				__HAL_TIM_SetCompare(&htim8,TIM_CHANNEL_2,pwmVal); // Modify the comparison value for the duty cycle
			}
		}

		cnt2 = __HAL_TIM_GET_COUNTER(&htim3);
		return (int)(cnt2-cnt1);
	}
}

/*
 * Turning function for week 9
 */
char Turning(bool left, uint16_t pwmVal, float target) {
	float yaw, diff;

//	// Reset Timer Value
//	__HAL_TIM_CLEAR_IT(&htim3, TIM_IT_UPDATE);
//	TIM3->CNT = 0;

//	HAL_TIM_PWM_Start(&htim8, TIM_CHANNEL_1);
//
//	HAL_TIM_PWM_Start(&htim8, TIM_CHANNEL_2);
//
//	HAL_TIM_PWM_Start(&htim1, TIM_CHANNEL_4);
//
//	HAL_TIM_Encoder_Start(&htim3, TIM_CHANNEL_ALL);

//	HAL_GPIO_WritePin(GPIOA, AIN2_Pin, GPIO_PIN_SET);
//	HAL_GPIO_WritePin(GPIOA, AIN1_Pin, GPIO_PIN_RESET);
//	HAL_GPIO_WritePin(GPIOA, BIN2_Pin, GPIO_PIN_SET);
//	HAL_GPIO_WritePin(GPIOA, BIN1_Pin, GPIO_PIN_RESET);

//	osDelay(500);
	__HAL_TIM_SetCompare(&htim8,TIM_CHANNEL_1,pwmVal); // Modify the comparison value for the duty cycle
	__HAL_TIM_SetCompare(&htim8,TIM_CHANNEL_2,pwmVal); // Modify the comparison value for the duty cycle
	osDelay(10); // Move on top

	yaw = YAW;

	if (left == true) {
		htim1.Instance->CCR4 = 100; // Turning Left
	} else {
		htim1.Instance->CCR4 = 240; // Turning Right
	}

	for (;;) {
		// To prevent task from freezing
		osDelay(1);
		if (left == true) {
			diff = YAW-yaw;
		} else {
			diff = yaw-YAW;
		}

		if (diff > target)
			break;
	}
//	__HAL_TIM_SetCompare(&htim8,TIM_CHANNEL_1,0); // Modify the comparison value for the duty cycle
//	__HAL_TIM_SetCompare(&htim8,TIM_CHANNEL_2,0); // Modify the comparison value for the duty cycle

	htim1.Instance->CCR4 = 143; // Forward

//	// Reset Timer Value
//	__HAL_TIM_CLEAR_IT(&htim3, TIM_IT_UPDATE);
//	TIM3->CNT = 0;
//	return 'R';
}

/*
 * On the spot turning function for week 8
 */
char Tight_Turn(bool forward, bool left) {
	uint16_t pwmVal = 1800;
	uint16_t cnt;
	float yaw = 0;
	int target;
	int targetFront1;
	int targetBack;
	int targetFront2;

//	// Reset Timer Value
//	__HAL_TIM_CLEAR_IT(&htim3, TIM_IT_UPDATE);
//	TIM3->CNT = 0;

	HAL_TIM_PWM_Start(&htim8, TIM_CHANNEL_1);

	HAL_TIM_PWM_Start(&htim8, TIM_CHANNEL_2);

	HAL_TIM_PWM_Start(&htim1, TIM_CHANNEL_4);

	HAL_TIM_Encoder_Start(&htim3, TIM_CHANNEL_ALL);

	yaw = YAW;

	// For corridor
		if (forward == true){
			if (left == true) {
				htim1.Instance->CCR4 = 93; // Turning Left 2940
				targetFront1 = 1110;
				targetBack = 1430;
				targetFront2 = 850;
			} else {
				htim1.Instance->CCR4 = 240; // Turning Right 4210
				targetFront1 = 1454;
				targetBack = 934;
				targetFront2 = 1090;
			}
		} else {
			if (left == true) {
				htim1.Instance->CCR4 = 93; // A Turning Left 2940
				targetFront1 = 200;
				targetBack = 1600;
				targetFront2 = 810;
			} else {
				htim1.Instance->CCR4 = 240; // D Turning Right 4210
				targetFront1 = 700;
				targetBack = 950;
				targetFront2 = 910;
			}
		}
	if (forward == true) {
		HAL_GPIO_WritePin(GPIOA, AIN2_Pin, GPIO_PIN_SET);
		HAL_GPIO_WritePin(GPIOA, AIN1_Pin, GPIO_PIN_RESET);
		HAL_GPIO_WritePin(GPIOA, BIN2_Pin, GPIO_PIN_SET);
		HAL_GPIO_WritePin(GPIOA, BIN1_Pin, GPIO_PIN_RESET);
	} else {
		HAL_GPIO_WritePin(GPIOA, AIN1_Pin, GPIO_PIN_SET);
		HAL_GPIO_WritePin(GPIOA, AIN2_Pin, GPIO_PIN_RESET);
		HAL_GPIO_WritePin(GPIOA, BIN1_Pin, GPIO_PIN_SET);
		HAL_GPIO_WritePin(GPIOA, BIN2_Pin, GPIO_PIN_RESET);
	}

	osDelay(500);
	__HAL_TIM_SetCompare(&htim8,TIM_CHANNEL_1,pwmVal); // Modify the comparison value for the duty cycle
	__HAL_TIM_SetCompare(&htim8,TIM_CHANNEL_2,pwmVal); // Modify the comparison value for the duty cycle
	osDelay(10); // Move on top

	// Reset Timer Value
	__HAL_TIM_CLEAR_IT(&htim3, TIM_IT_UPDATE);
	TIM3->CNT = 0;

	for (;;) {
		// for 90deg left turn
		cnt = __HAL_TIM_GET_COUNTER(&htim3);

		if (__HAL_TIM_IS_TIM_COUNTING_DOWN(&htim3)) {
			if (65535-cnt >= targetFront1 && cnt!=0) {
				break;
			}
		}
		else {
			if (cnt >= targetFront1) {
				break;
			}
		}

	}

	// Stop
	__HAL_TIM_SetCompare(&htim8,TIM_CHANNEL_1,0); // Modify the comparison value for the duty cycle
	__HAL_TIM_SetCompare(&htim8,TIM_CHANNEL_2,0); // Modify the comparison value for the duty cycle

	osDelay(100);

	// Back

	if (left == true) {
		htim1.Instance->CCR4 = 240; // Turning Left 2940
	} else {
		htim1.Instance->CCR4 = 93; // Turning Right 4210
	}

	if (forward == true) {
		HAL_GPIO_WritePin(GPIOA, AIN1_Pin, GPIO_PIN_SET);
		HAL_GPIO_WritePin(GPIOA, AIN2_Pin, GPIO_PIN_RESET);
		HAL_GPIO_WritePin(GPIOA, BIN1_Pin, GPIO_PIN_SET);
		HAL_GPIO_WritePin(GPIOA, BIN2_Pin, GPIO_PIN_RESET);
	} else {
		HAL_GPIO_WritePin(GPIOA, AIN2_Pin, GPIO_PIN_SET);
		HAL_GPIO_WritePin(GPIOA, AIN1_Pin, GPIO_PIN_RESET);
		HAL_GPIO_WritePin(GPIOA, BIN2_Pin, GPIO_PIN_SET);
		HAL_GPIO_WritePin(GPIOA, BIN1_Pin, GPIO_PIN_RESET);
	}
	osDelay(500);
	__HAL_TIM_SetCompare(&htim8,TIM_CHANNEL_1,pwmVal); // Modify the comparison value for the duty cycle
	__HAL_TIM_SetCompare(&htim8,TIM_CHANNEL_2,pwmVal); // Modify the comparison value for the duty cycle
	osDelay(10); // Move on top

	// Reset Timer Value
	__HAL_TIM_CLEAR_IT(&htim3, TIM_IT_UPDATE);
	TIM3->CNT = 0;

	for (;;) {
		// for 90deg left turn
		cnt = __HAL_TIM_GET_COUNTER(&htim3);

		if (__HAL_TIM_IS_TIM_COUNTING_DOWN(&htim3)) {
			if (65535-cnt >= targetBack && cnt!=0) {
				break;
			}
		}
		else {
			if (cnt >= targetBack) {
				break;
			}
		}

	}

	// Front2
	__HAL_TIM_SetCompare(&htim8,TIM_CHANNEL_1,0); // Modify the comparison value for the duty cycle
	__HAL_TIM_SetCompare(&htim8,TIM_CHANNEL_2,0); // Modify the comparison value for the duty cycle

	osDelay(100);

	if (left == true) {
		htim1.Instance->CCR4 = 93; // Turning Left 2940
	} else {
		htim1.Instance->CCR4 = 240; // Turning Right 4210
	}

	if (forward == true) {
		HAL_GPIO_WritePin(GPIOA, AIN2_Pin, GPIO_PIN_SET);
		HAL_GPIO_WritePin(GPIOA, AIN1_Pin, GPIO_PIN_RESET);
		HAL_GPIO_WritePin(GPIOA, BIN2_Pin, GPIO_PIN_SET);
		HAL_GPIO_WritePin(GPIOA, BIN1_Pin, GPIO_PIN_RESET);
	} else {
		HAL_GPIO_WritePin(GPIOA, AIN1_Pin, GPIO_PIN_SET);
		HAL_GPIO_WritePin(GPIOA, AIN2_Pin, GPIO_PIN_RESET);
		HAL_GPIO_WritePin(GPIOA, BIN1_Pin, GPIO_PIN_SET);
		HAL_GPIO_WritePin(GPIOA, BIN2_Pin, GPIO_PIN_RESET);
	}
	osDelay(500);
	__HAL_TIM_SetCompare(&htim8,TIM_CHANNEL_1,pwmVal); // Modify the comparison value for the duty cycle
	__HAL_TIM_SetCompare(&htim8,TIM_CHANNEL_2,pwmVal); // Modify the comparison value for the duty cycle
	osDelay(10); // Move on top

	// Reset Timer Val
	__HAL_TIM_CLEAR_IT(&htim3, TIM_IT_UPDATE);
	TIM3->CNT = 0;

	for (;;) {
		// for 90deg left turn
		cnt = __HAL_TIM_GET_COUNTER(&htim3);

		if (__HAL_TIM_IS_TIM_COUNTING_DOWN(&htim3)) {
			if (65535-cnt >= targetFront2 && cnt!=0) {
				break;
			}
		}
		else {
			if (cnt >= targetFront2) {
				break;
			}
		}

	}

	__HAL_TIM_SetCompare(&htim8,TIM_CHANNEL_1,0); // Modify the comparison value for the duty cycle
	__HAL_TIM_SetCompare(&htim8,TIM_CHANNEL_2,0); // Modify the comparison value for the duty cycle
	osDelay(10);
	htim1.Instance->CCR4 = 143; // Forward

	// count declaration
	int16_t cnt1, cnt2;

	// Reset Timer Value
	__HAL_TIM_CLEAR_IT(&htim3, TIM_IT_UPDATE);
	TIM3->CNT = 0;

	cnt1 = __HAL_TIM_GET_COUNTER(&htim3);

	// Backwards correction
	for (;;) {
		HAL_GPIO_WritePin(GPIOA, AIN1_Pin, GPIO_PIN_SET);
		HAL_GPIO_WritePin(GPIOA, AIN2_Pin, GPIO_PIN_RESET);
		HAL_GPIO_WritePin(GPIOA, BIN1_Pin, GPIO_PIN_SET);
		HAL_GPIO_WritePin(GPIOA, BIN2_Pin, GPIO_PIN_RESET);
		osDelay(10);
		__HAL_TIM_SetCompare(&htim8,TIM_CHANNEL_1,pwmVal); // Modify the comparison value for the duty cycle
		__HAL_TIM_SetCompare(&htim8,TIM_CHANNEL_2,pwmVal); // Modify the comparison value for the duty cycle
		if (forward == true){
			if (left == true)
				target = 917;
			else
				target = 900;
		} else {
			if (left == true)
				target = 400;
			else
				target = 1000;
		}
		cnt2 = __HAL_TIM_GET_COUNTER(&htim3);

		if (__HAL_TIM_IS_TIM_COUNTING_DOWN(&htim3)) {
			if ((cnt1-cnt2) >= target) {
				break;
			}
		}
		else {
			if ((cnt2-cnt1) >= target) {
				break;
			}
		}
	}
	__HAL_TIM_SetCompare(&htim8,TIM_CHANNEL_1,0); // Modify the comparison value for the duty cycle
	__HAL_TIM_SetCompare(&htim8,TIM_CHANNEL_2,0); // Modify the comparison value for the duty cycle

		osDelay(500);

		// angle correction
		float diff;
		float left_target = 89;
		float right_target = 88;
		float threshold = 1;
		if (left == true) {
			diff = YAW-yaw;
			if (diff > left_target+threshold) {
				for (;;) {

					htim1.Instance->CCR4 = 152; // Turning Right 4210

					osDelay(200);

					HAL_GPIO_WritePin(GPIOA, AIN2_Pin, GPIO_PIN_SET);
					HAL_GPIO_WritePin(GPIOA, AIN1_Pin, GPIO_PIN_RESET);
					HAL_GPIO_WritePin(GPIOA, BIN2_Pin, GPIO_PIN_SET);
					HAL_GPIO_WritePin(GPIOA, BIN1_Pin, GPIO_PIN_RESET);
					__HAL_TIM_SetCompare(&htim8,TIM_CHANNEL_1,pwmVal); // Modify the comparison value for the duty cycle
					__HAL_TIM_SetCompare(&htim8,TIM_CHANNEL_2,pwmVal); // Modify the comparison value for the duty cycle

					osDelay(200);

					__HAL_TIM_SetCompare(&htim8,TIM_CHANNEL_1,0); // Modify the comparison value for the duty cycle
					__HAL_TIM_SetCompare(&htim8,TIM_CHANNEL_2,0); // Modify the comparison value for the duty cycle

					htim1.Instance->CCR4 = 140;

					osDelay(200);

					HAL_GPIO_WritePin(GPIOA, AIN1_Pin, GPIO_PIN_SET);
					HAL_GPIO_WritePin(GPIOA, AIN2_Pin, GPIO_PIN_RESET);
					HAL_GPIO_WritePin(GPIOA, BIN1_Pin, GPIO_PIN_SET);
					HAL_GPIO_WritePin(GPIOA, BIN2_Pin, GPIO_PIN_RESET);
					__HAL_TIM_SetCompare(&htim8,TIM_CHANNEL_1,pwmVal); // Modify the comparison value for the duty cycle
					__HAL_TIM_SetCompare(&htim8,TIM_CHANNEL_2,pwmVal); // Modify the comparison value for the duty cycle

					osDelay(200);

					__HAL_TIM_SetCompare(&htim8,TIM_CHANNEL_1,0); // Modify the comparison value for the duty cycle
					__HAL_TIM_SetCompare(&htim8,TIM_CHANNEL_2,0); // Modify the comparison value for the duty cycle

					diff = YAW-yaw;
					if (diff <= left_target+threshold)
						break;
					if (YAW == 0.00)
						break;
					osDelay(100);
				}

			}
			else if (diff < left_target-threshold) {
				for (;;) {

					htim1.Instance->CCR4 = 140;

					osDelay(200);

					HAL_GPIO_WritePin(GPIOA, AIN2_Pin, GPIO_PIN_SET);
					HAL_GPIO_WritePin(GPIOA, AIN1_Pin, GPIO_PIN_RESET);
					HAL_GPIO_WritePin(GPIOA, BIN2_Pin, GPIO_PIN_SET);
					HAL_GPIO_WritePin(GPIOA, BIN1_Pin, GPIO_PIN_RESET);
					__HAL_TIM_SetCompare(&htim8,TIM_CHANNEL_1,pwmVal); // Modify the comparison value for the duty cycle
					__HAL_TIM_SetCompare(&htim8,TIM_CHANNEL_2,pwmVal); // Modify the comparison value for the duty cycle

					osDelay(200);

					__HAL_TIM_SetCompare(&htim8,TIM_CHANNEL_1,0); // Modify the comparison value for the duty cycle
					__HAL_TIM_SetCompare(&htim8,TIM_CHANNEL_2,0); // Modify the comparison value for the duty cycle

					htim1.Instance->CCR4 = 152; // Turning Right 4210

					osDelay(200);

					HAL_GPIO_WritePin(GPIOA, AIN1_Pin, GPIO_PIN_SET);
					HAL_GPIO_WritePin(GPIOA, AIN2_Pin, GPIO_PIN_RESET);
					HAL_GPIO_WritePin(GPIOA, BIN1_Pin, GPIO_PIN_SET);
					HAL_GPIO_WritePin(GPIOA, BIN2_Pin, GPIO_PIN_RESET);
					__HAL_TIM_SetCompare(&htim8,TIM_CHANNEL_1,pwmVal); // Modify the comparison value for the duty cycle
					__HAL_TIM_SetCompare(&htim8,TIM_CHANNEL_2,pwmVal); // Modify the comparison value for the duty cycle

					osDelay(200);

					__HAL_TIM_SetCompare(&htim8,TIM_CHANNEL_1,0); // Modify the comparison value for the duty cycle
					__HAL_TIM_SetCompare(&htim8,TIM_CHANNEL_2,0); // Modify the comparison value for the duty cycle

					diff = YAW-yaw;
					if (diff >= left_target-threshold)
						break;
					if (YAW == 0.00)
						break;
					osDelay(100);
				}

			}
		}
		// If right turn
		else {
			diff = yaw-YAW;
			if (diff < right_target-threshold) {
				for (;;) {

					htim1.Instance->CCR4 = 155; // Turning Right 4210

					osDelay(200);

					HAL_GPIO_WritePin(GPIOA, AIN2_Pin, GPIO_PIN_SET);
					HAL_GPIO_WritePin(GPIOA, AIN1_Pin, GPIO_PIN_RESET);
					HAL_GPIO_WritePin(GPIOA, BIN2_Pin, GPIO_PIN_SET);
					HAL_GPIO_WritePin(GPIOA, BIN1_Pin, GPIO_PIN_RESET);
					__HAL_TIM_SetCompare(&htim8,TIM_CHANNEL_1,pwmVal); // Modify the comparison value for the duty cycle
					__HAL_TIM_SetCompare(&htim8,TIM_CHANNEL_2,pwmVal); // Modify the comparison value for the duty cycle

					osDelay(200);

					__HAL_TIM_SetCompare(&htim8,TIM_CHANNEL_1,0); // Modify the comparison value for the duty cycle
					__HAL_TIM_SetCompare(&htim8,TIM_CHANNEL_2,0); // Modify the comparison value for the duty cycle

					htim1.Instance->CCR4 = 138;

					osDelay(200);

					HAL_GPIO_WritePin(GPIOA, AIN1_Pin, GPIO_PIN_SET);
					HAL_GPIO_WritePin(GPIOA, AIN2_Pin, GPIO_PIN_RESET);
					HAL_GPIO_WritePin(GPIOA, BIN1_Pin, GPIO_PIN_SET);
					HAL_GPIO_WritePin(GPIOA, BIN2_Pin, GPIO_PIN_RESET);
					__HAL_TIM_SetCompare(&htim8,TIM_CHANNEL_1,pwmVal); // Modify the comparison value for the duty cycle
					__HAL_TIM_SetCompare(&htim8,TIM_CHANNEL_2,pwmVal); // Modify the comparison value for the duty cycle

					osDelay(200);

					__HAL_TIM_SetCompare(&htim8,TIM_CHANNEL_1,0); // Modify the comparison value for the duty cycle
					__HAL_TIM_SetCompare(&htim8,TIM_CHANNEL_2,0); // Modify the comparison value for the duty cycle

					diff = yaw-YAW;
					if (diff >= right_target-threshold)
						break;
					if (YAW == 0.00)
						break;
					osDelay(100);
				}

			}
			else if (diff > right_target+threshold) {
				for (;;) {

					htim1.Instance->CCR4 = 138;

					osDelay(200);

					HAL_GPIO_WritePin(GPIOA, AIN2_Pin, GPIO_PIN_SET);
					HAL_GPIO_WritePin(GPIOA, AIN1_Pin, GPIO_PIN_RESET);
					HAL_GPIO_WritePin(GPIOA, BIN2_Pin, GPIO_PIN_SET);
					HAL_GPIO_WritePin(GPIOA, BIN1_Pin, GPIO_PIN_RESET);
					__HAL_TIM_SetCompare(&htim8,TIM_CHANNEL_1,pwmVal); // Modify the comparison value for the duty cycle
					__HAL_TIM_SetCompare(&htim8,TIM_CHANNEL_2,pwmVal); // Modify the comparison value for the duty cycle

					osDelay(200);

					__HAL_TIM_SetCompare(&htim8,TIM_CHANNEL_1,0); // Modify the comparison value for the duty cycle
					__HAL_TIM_SetCompare(&htim8,TIM_CHANNEL_2,0); // Modify the comparison value for the duty cycle

					htim1.Instance->CCR4 = 155; // Turning Right 4210

					osDelay(200);

					HAL_GPIO_WritePin(GPIOA, AIN1_Pin, GPIO_PIN_SET);
					HAL_GPIO_WritePin(GPIOA, AIN2_Pin, GPIO_PIN_RESET);
					HAL_GPIO_WritePin(GPIOA, BIN1_Pin, GPIO_PIN_SET);
					HAL_GPIO_WritePin(GPIOA, BIN2_Pin, GPIO_PIN_RESET);
					__HAL_TIM_SetCompare(&htim8,TIM_CHANNEL_1,pwmVal); // Modify the comparison value for the duty cycle
					__HAL_TIM_SetCompare(&htim8,TIM_CHANNEL_2,pwmVal); // Modify the comparison value for the duty cycle

					osDelay(200);

					__HAL_TIM_SetCompare(&htim8,TIM_CHANNEL_1,0); // Modify the comparison value for the duty cycle
					__HAL_TIM_SetCompare(&htim8,TIM_CHANNEL_2,0); // Modify the comparison value for the duty cycle

					diff = yaw-YAW;
					if (diff <= right_target+threshold)
						break;
					if (YAW == 0.00)
						break;
					osDelay(100);
				}

			}
//		}
	}

	htim1.Instance->CCR4 = 146;
	// Reset Timer Value
	__HAL_TIM_CLEAR_IT(&htim3, TIM_IT_UPDATE);
	TIM3->CNT = 0;
	return 'R';
}

/*
 * Turning function for week 9
 */
float Turning_IR(bool left, uint16_t pwmVal, float target) {
	float yaw, diff;
	float turningAngle;

//	// Reset Timer Value
//	__HAL_TIM_CLEAR_IT(&htim3, TIM_IT_UPDATE);
//	TIM3->CNT = 0;

//	HAL_TIM_PWM_Start(&htim8, TIM_CHANNEL_1);
//
//	HAL_TIM_PWM_Start(&htim8, TIM_CHANNEL_2);
//
//	HAL_TIM_PWM_Start(&htim1, TIM_CHANNEL_4);
//
//	HAL_TIM_Encoder_Start(&htim3, TIM_CHANNEL_ALL);

	if (left == true) {
		htim1.Instance->CCR4 = 93; // Turning Left
	} else {
		htim1.Instance->CCR4 = 240; // Turning Right
	}

	yaw = YAW;

//	HAL_GPIO_WritePin(GPIOA, AIN2_Pin, GPIO_PIN_SET);
//	HAL_GPIO_WritePin(GPIOA, AIN1_Pin, GPIO_PIN_RESET);
//	HAL_GPIO_WritePin(GPIOA, BIN2_Pin, GPIO_PIN_SET);
//	HAL_GPIO_WritePin(GPIOA, BIN1_Pin, GPIO_PIN_RESET);

	while(IR(hadc1) != 0) {
		__HAL_TIM_SetCompare(&htim8,TIM_CHANNEL_1,pwmVal); // Modify the comparison value for the duty cycle
		__HAL_TIM_SetCompare(&htim8,TIM_CHANNEL_2,pwmVal); // Modify the comparison value for the duty cycle
	}
	turningAngle = abs(YAW - yaw);
//	__HAL_TIM_SetCompare(&htim8,TIM_CHANNEL_1,0); // Modify the comparison value for the duty cycle
//	__HAL_TIM_SetCompare(&htim8,TIM_CHANNEL_2,0); // Modify the comparison value for the duty cycle

	htim1.Instance->CCR4 = 143; // Forward

	// Reset Timer Value
	__HAL_TIM_CLEAR_IT(&htim3, TIM_IT_UPDATE);
	TIM3->CNT = 0;
	return 'R';
	return turningAngle;
}

char Fast_Triangle() {
	uint16_t pwmVal = 3000;
	float a1;

	Long_Forward(pwmVal, 663*5, true); // Move forward before IR Sensor Reading

	a1 = Turning_IR(false, pwmVal, 83.0); // Turn right 90 degree
}

/*
 * Procedure for week 9 task
 */
char Fast_Run(uint8_t dist) {
	uint16_t straightPwmVal = 4000;
	uint16_t turningPwmVal = 3000;

	int obsDistRight, obsDist;
	int totalObsLen;
	int steps = dist-'0';
	int dTurning = 663; // diameter for turning

	HAL_TIM_PWM_Start(&htim8, TIM_CHANNEL_1);

	HAL_TIM_PWM_Start(&htim8, TIM_CHANNEL_2);

	HAL_TIM_PWM_Start(&htim1, TIM_CHANNEL_4);

	HAL_TIM_Encoder_Start(&htim2, TIM_CHANNEL_ALL);

//	Long_Forward(pwmVal, 663*steps); // Move forward according to value from r-pi

	obsDist = Long_Forward(straightPwmVal, 0, true);

	Turning(false, turningPwmVal/2, 70.0); // Turn right 90 degree

	obsDistRight = Long_Forward(straightPwmVal/2, 0, false); // Move forward till cannot detect obstacle using side IR

	Turning(true, turningPwmVal, 163.0); // Turn left 180 degree

//	Long_Forward(pwmVal, 663*8, false); // Move forward 80cm

	totalObsLen = Long_Forward(straightPwmVal, 0, false); // Move forward till cannot detect obstacle using side IR

	Turning(true, turningPwmVal, 163.0); // Turn left 180 degree

//	Long_Forward(pwmVal, 663*6-obsDist - d_turning - d_turning/2, false); // Move forward till ready for parking

	if (totalObsLen >(obsDistRight+dTurning))
		Long_Forward(straightPwmVal, totalObsLen - obsDistRight - dTurning, false); // Move forward till ready for parking

	Turning(false, turningPwmVal/2, 70.0); // Turn right 90 degree

//	Long_Forward(straightPwmVal, 663*steps, false); // Move forward according to value from r-pi
	Parking(straightPwmVal, obsDist, false); // Move forward according to value from r-pi

	__HAL_TIM_SetCompare(&htim8,TIM_CHANNEL_1,0); // Modify the comparison value for the duty cycle
	__HAL_TIM_SetCompare(&htim8,TIM_CHANNEL_2,0);

	return 'R';
}

/**
 * @brief  Function implementing the defaultTask thread.
 * @param  argument: Not used
 * @retval None
 */
/* USER CODE END Header_StartDefaultTask */
void StartDefaultTask(void *argument)
{
  /* USER CODE BEGIN 5 */
	uint8_t receiveBuffer[4];
	uint8_t ch;
//	uint8_t char2;
	uint8_t display_buf[20];
//	bool have_var = false;
//	bool two_digits = false;
//	int count = 1;
//	int var;
//	int var2;

	/* Infinite loop */
	for (;;) {

		int irSide = IR(hadc1);
		int irFront = IR(hadc3);
		sprintf(display_buf, "IR Fr: %5d", irFront);
		OLED_ShowString(10, 20, display_buf);

		sprintf(display_buf, "IR Si: %5d", irSide);
		OLED_ShowString(10, 30, display_buf);

		HAL_UART_Receive_IT(&huart3, (uint8_t*) aRxBuffer, 1);
		memcpy(receiveBuffer, aRxBuffer, sizeof(char));
		switch (receiveBuffer[0]) {
		case 'W':
//			if (have_var) {
//				if (two_digits) {
//					var = (var * 10) + var2;
//				}
//				ch = Straight_Move(true, var);
//				have_var = false;
//			} else {
			ch = Straight_Move(true, 1);
//			}
//			// reset var
//			two_digits = false;
//			count = 1;
//			ch = 'R';
			HAL_UART_Transmit(&huart3, (uint8_t*) &ch, 1, 0xFFFF);
			break;
		case 'S':
//			if (have_var) {
//				if (two_digits) {
//					var = (var * 10) + var2;
//				}
//				ch = Straight_Move(false, var);
//				have_var = false;
//			} else {
			ch = Straight_Move(false, 1);
//			}
//			// reset var
//			two_digits = false;
//			count = 1;
//			ch = 'R';
			HAL_UART_Transmit(&huart3, (uint8_t*) &ch, 1, 0xFFFF);
			break;
		case 'Q':
//			if (have_var) {
//				if (two_digits) {
//					var = (var * 10) + var2;
//				}
//				ch = Tight_Turn(true, true);
//				have_var = false;
//			} else {
			ch = Tight_Turn(true, true);
//			}
//			// reset var
//			two_digits = false;
//			count = 1;
//			ch = 'R';
			HAL_UART_Transmit(&huart3, (uint8_t*) &ch, 1, 0xFFFF);
			break;
		case 'E':
//			if (have_var) {
//				if (two_digits) {
//					var = (var * 10) + var2;
//				}
//				ch = Tight_Turn(true, false);
//				have_var = false;
//			} else {
			ch = Tight_Turn(true, false);
//			}
//			// reset var
//			two_digits = false;
//			count = 1;
//			ch = 'R';
			HAL_UART_Transmit(&huart3, (uint8_t*) &ch, 1, 0xFFFF);
			break;
		case 'A':
			ch = Tight_Turn(false, true);
			HAL_UART_Transmit(&huart3, (uint8_t*) &ch, 1, 0xFFFF);
			break;
		case 'D':
			ch = Tight_Turn(false, false);
			HAL_UART_Transmit(&huart3, (uint8_t*) &ch, 1, 0xFFFF);
			break;
		case '0':
		case '1':
		case '2':
		case '3':
		case '4':
		case '5':
		case '6':
		case '7':
		case '8':
		case '9':
//			ch = '1';
//			HAL_UART_Transmit(&huart3,(uint8_t *)&ch, 1, 0xFFFF);
//			have_var = true;
//			// if second digit
//			if (count == 2) {
//				ch = '2';
//				HAL_UART_Transmit(&huart3,(uint8_t *)&ch, 1, 0xFFFF);
//				var2 = receiveBuffer[0]-'0';
//				two_digits = true;
//				count = 1;
//			}
//			// if first digit
//			else {
//				var = receiveBuffer[0]-'0';
//				count++;
//			}
			memmove(aRxBuffer, aRxBuffer+1, sizeof(aRxBuffer)-1);
			ch = Fast_Run(receiveBuffer[0]);
			HAL_UART_Transmit(&huart3, (uint8_t*) &ch, 1, 0xFFFF);
			break;
		default:
			break;
		}
		memmove(aRxBuffer, aRxBuffer+1, sizeof(aRxBuffer)-1);
		osDelay(100);
	}
  /* USER CODE END 5 */
}

void Encoder(void *argument)
{
  /* USER CODE BEGIN Encoder */
	HAL_TIM_Encoder_Start(&htim3, TIM_CHANNEL_ALL);

	int cnt, cnt1, cnt2, diff;
	uint32_t tick;

	cnt1 = __HAL_TIM_GET_COUNTER(&htim3);
	tick = HAL_GetTick();
	uint8_t hello[20];
	uint16_t dir;
	/* Infinite loop */

	for (;;) {
		if (HAL_GetTick() - tick > 1000L) {
			cnt2 = __HAL_TIM_GET_COUNTER(&htim3);
			if (__HAL_TIM_IS_TIM_COUNTING_DOWN(&htim3)) {
				if (cnt2 < cnt1)
					diff = cnt1 - cnt2;
				else
					diff = (65535 - cnt2) + cnt1;
			} else {
				if (cnt2 > cnt1)
					diff = cnt2 - cnt1;
				else
					diff = (65535 - cnt1) + cnt2;
			}

			sprintf(hello, "Speed:%5d\0", diff);
//			OLED_ShowString(10, 20, hello);
			dir = __HAL_TIM_IS_TIM_COUNTING_DOWN(&htim3);
			sprintf(hello, "Dir:%5d\0", dir);
//			OLED_ShowString(10, 30, hello);
			cnt = __HAL_TIM_GET_COUNTER(&htim3);
			sprintf(hello, "%5d\0", cnt);
//			OLED_ShowString(10, 30, hello);
			cnt1 = __HAL_TIM_GET_COUNTER(&htim3);
			tick = HAL_GetTick();
		}
		osDelay(1);
	}
  /* USER CODE END Encoder */
}

void Display(void *argument)
{
  /* USER CODE BEGIN Display */
	uint8_t display_buf[20] = "Hello World!\0";
	/* Infinite loop */
	for (;;) {
		sprintf(display_buf, "%s\0", aRxBuffer);
		OLED_ShowString(10, 10, display_buf);

		sprintf(display_buf, "%5.2f", YAW);
		OLED_ShowString(10, 40, display_buf);

		OLED_Refresh_Gram();
		osDelay(1000);
	}
  /* USER CODE END Display */
}

void Gyroscope(void *argument)
{
  /* USER CODE BEGIN Gyroscope */
	float offset;
	ICM20948_Init();
	AK09916_Init();

	// gyroscope calibration
	uint32_t tick;
	for (int i = 1; i <= 100; i++){
		tick = HAL_GetTick();
		ICM20948_Gyro_Read_dps(&my_gyro);
		osDelay(10);
		offset += ((HAL_GetTick()-tick)*(my_gyro.z))/1000;
	}
	offset /= 100;

	for (;;) {
		tick = HAL_GetTick();

		ICM20948_Gyro_Read_dps(&my_gyro);
		osDelay(10);
		YAW += ((HAL_GetTick()-tick)*(my_gyro.z))/1000-offset;
	}
  /* USER CODE END Gyroscope */
}

void Error_Handler(void)
{
	__disable_irq();
	while (1) {
	}
}
